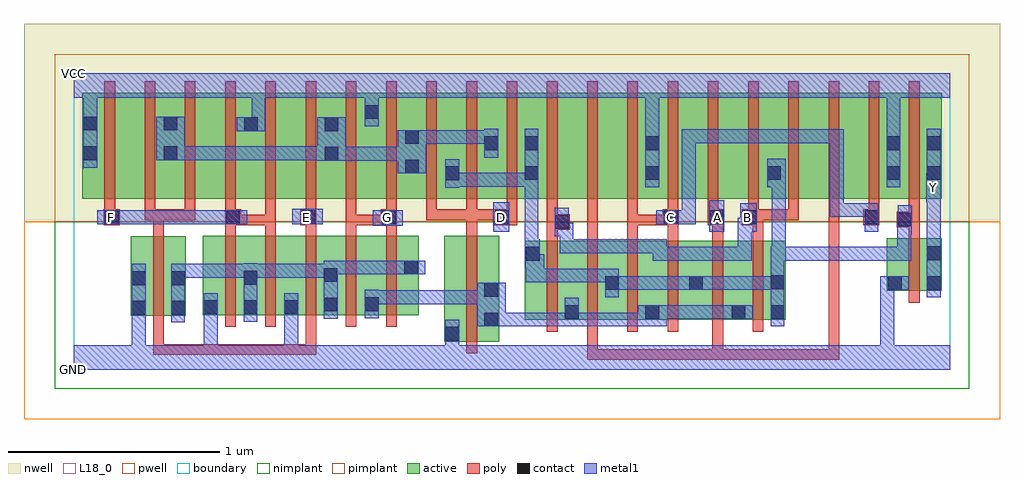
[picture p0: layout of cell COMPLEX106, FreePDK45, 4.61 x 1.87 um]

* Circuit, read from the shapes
.subckt COMPLEX106 A B C D E F G GND VCC Y
M1 n1 E GND VSUBS nfet w=0.375u l=0.05u m=2
M2 n1 F GND VSUBS nfet w=0.375u l=0.05u m=2
M3 n2 G n1 VSUBS nfet w=0.375u l=0.05u m=2
M4 n2 D GND VSUBS nfet w=0.5u l=0.05u
M5 n2 B n3 VSUBS nfet w=0.375u l=0.05u m=2
M6 n3 A n2 VSUBS nfet w=0.375u l=0.05u m=2
M7 n2 C n3 VSUBS nfet w=0.375u l=0.05u m=2
M8 Y n3 GND VSUBS nfet w=0.25u l=0.05u
M9 n4 F VCC n5 pfet w=0.5u l=0.05u
M10 n6 E n4 n5 pfet w=0.5u l=0.05u
M11 n7 E n6 n5 pfet w=0.5u l=0.05u
M12 VCC F n7 n5 pfet w=0.5u l=0.05u
M13 n8 F VCC n5 pfet w=0.5u l=0.05u
M14 n6 E n8 n5 pfet w=0.5u l=0.05u
M15 VCC G n6 n5 pfet w=0.5u l=0.05u m=2
M16 n3 D n6 n5 pfet w=0.5u l=0.05u m=3
M17 n9 B n3 n5 pfet w=0.5u l=0.05u
M18 n10 A n9 n5 pfet w=0.5u l=0.05u
M19 VCC C n10 n5 pfet w=0.5u l=0.05u
M20 n11 C VCC n5 pfet w=0.5u l=0.05u
M21 n12 A n11 n5 pfet w=0.5u l=0.05u
M22 n3 B n12 n5 pfet w=0.5u l=0.05u
M23 n13 B n3 n5 pfet w=0.5u l=0.05u
M24 n14 A n13 n5 pfet w=0.5u l=0.05u
M25 VCC C n14 n5 pfet w=0.5u l=0.05u
M26 Y n3 VCC n5 pfet w=0.5u l=0.05u
.ends

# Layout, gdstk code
import gdstk
lib = gdstk.Library(unit=1e-6, precision=1e-09)
def R(c, l, rs):  # rectangles x0, y0, x1, y1
    for r in rs: c.add(gdstk.rectangle(r[:2], r[2:], *l))
def A(c, l, x, y, w, h, nx, ny, dx, dy):  # array of equal rectangles
    R(c, l, [(x+i*dx, y+j*dy, x+i*dx+w, y+j*dy+h) for i in range(nx) for j in range(ny)])
active = (1, 0)
pwell = (2, 0)
nwell = (3, 0)
nimplant = (4, 0)
pimplant = (5, 0)
poly = (9, 0)
contact = (10, 0)
metal1 = (11, 0)
L18_0 = (18, 0)
boundary = (235, 0)

complex106 = lib.new_cell('COMPLEX106')
A(complex106, active, 0.04, 0.807, 0.225, 0.5, 3, 1, 0.38, 0)
A(complex106, active, 0.265, 0.807, 0.23, 0.5, 3, 1, 0.38, 0)
A(complex106, active, 1.18, 0.807, 0.265, 0.5, 3, 1, 0.19, 0)
A(complex106, active, 2.355, 0.807, 0.19, 0.5, 3, 1, 0.57, 0)
R(complex106, active, [(1.75,0.132,2.01,0.632), (1.75,0.132,1.825,0.632), (1.935,0.145,2.01,0.632), (2.13,0.235,2.39,0.61), (2.315,0.235,2.58,0.61), (2.315,0.235,2.39,0.467), (2.505,0.235,2.77,0.61), (2.695,0.235,2.977,0.61), (2.695,0.235,2.77,0.592), (2.902,0.235,3.177,0.61), (3.102,0.235,3.362,0.61), (3.102,0.235,3.177,0.512), (3.287,0.235,3.362,0.61), (0.27,0.255,0.345,0.63), (0.27,0.255,0.53,0.63), (0.455,0.255,0.53,0.63), (0.61,0.257,0.685,0.632), (0.61,0.257,0.872,0.632), (0.797,0.257,1.065,0.632), (0.797,0.257,0.872,0.592), (0.99,0.257,1.25,0.632), (0.99,0.257,1.065,0.512), (1.175,0.257,1.25,0.632), (1.175,0.257,1.445,0.632), (1.37,0.257,1.63,0.632), (1.37,0.257,1.445,0.467), (1.555,0.27,1.63,0.632), (2.13,0.27,2.205,0.61), (2.505,0.27,2.58,0.512), (2.902,0.27,2.977,0.512), (3.84,0.372,3.915,0.622), (3.84,0.372,4.1,0.622), (4.025,0.372,4.1,0.622), (0.04,0.807,0.115,1.307), (0.42,0.807,0.495,1.2), (0.8,0.807,0.875,1.307), (1.18,0.807,1.255,1.2), (1.37,0.807,1.445,1.307), (1.56,0.807,1.635,1.2), (1.75,0.807,2.01,1.307), (1.75,0.807,1.825,1.07), (1.935,0.807,2.01,1.2), (1.935,0.807,2.2,1.307), (2.125,0.807,2.2,1.2), (2.125,0.807,2.355,1.307), (2.545,0.807,2.77,1.307), (2.695,0.807,2.77,1.307), (2.695,0.807,2.925,1.307), (3.115,0.807,3.345,1.307), (3.27,0.807,3.495,1.307), (3.27,0.807,3.345,1.07), (3.685,0.807,3.91,1.307), (3.835,0.807,3.91,1.307), (3.835,0.807,4.1,1.307), (4.025,0.807,4.1,1.2)])
R(complex106, pwell, [(-0.235,-0.235,4.375,0.7)])
R(complex106, nwell, [(-0.235,0.7,4.375,1.635)])
R(complex106, nimplant, [(-0.09,-0.09,4.23,0.7)])
R(complex106, pimplant, [(-0.09,0.7,4.23,1.49)])
A(complex106, poly, 2.235, 0.18, 0.05, 0.485, 4, 1, 0.19, 0)
A(complex106, poly, 0.715, 0.202, 0.05, 0.485, 5, 1, 0.19, 0)
A(complex106, poly, 0.715, 0.637, 0.05, 0.095, 5, 1, 0.19, 0)
A(complex106, poly, 0.145, 0.707, 0.05, 0.095, 4, 1, 0.19, 0)
A(complex106, poly, 1.475, 0.707, 0.05, 0.095, 4, 1, 0.19, 0)
A(complex106, poly, 2.805, 0.707, 0.05, 0.095, 4, 1, 0.19, 0)
A(complex106, poly, 0.145, 0.752, 0.05, 0.61, 21, 1, 0.19, 0)
R(complex106, poly, [(2.425,0.047,2.475,0.097), (2.425,0.047,2.475,0.097), (2.425,0.047,2.475,0.097), (2.425,0.047,2.475,0.23), (2.425,0.047,2.607,0.097), (2.557,0.047,2.607,0.097), (2.557,0.047,2.607,0.097), (2.557,0.047,2.607,0.097), (2.557,0.047,2.912,0.097), (2.862,0.047,2.912,0.097), (2.862,0.047,2.912,0.097), (2.862,0.047,2.912,0.097), (2.862,0.047,3.067,0.097), (3.017,0.047,3.067,0.097), (3.017,0.047,3.257,0.097), (3.017,0.047,3.067,0.23), (3.207,0.047,3.257,0.097), (3.207,0.047,3.257,0.097), (3.207,0.047,3.257,0.097), (3.207,0.047,3.39,0.097), (3.34,0.047,3.39,0.097), (3.34,0.047,3.39,0.097), (3.34,0.047,3.39,0.097), (3.34,0.047,3.39,0.097), (3.34,0.047,3.39,0.097), (3.34,0.047,3.39,0.097), (3.34,0.047,3.39,0.097), (3.34,0.047,3.615,0.097), (3.565,0.047,3.615,0.802), (3.565,0.047,3.615,0.097), (3.565,0.047,3.615,0.097), (3.565,0.047,3.615,0.097), (3.565,0.047,3.615,0.097), (3.565,0.047,3.615,0.097), (3.565,0.047,3.615,0.097), (3.565,0.047,3.615,0.097), (0.375,0.07,0.425,0.12), (0.375,0.07,0.575,0.12), (0.375,0.07,0.425,0.25), (0.525,0.07,0.575,0.12), (0.525,0.07,0.575,0.12), (0.525,0.07,0.575,0.12), (0.525,0.07,0.707,0.12), (0.657,0.07,0.707,0.12), (0.657,0.07,0.822,0.12), (0.772,0.07,0.822,0.12), (0.772,0.07,0.84,0.12), (0.79,0.07,0.84,0.12), (0.79,0.07,0.987,0.12), (0.937,0.07,0.987,0.12), (0.937,0.07,1.145,0.12), (1.095,0.07,1.145,0.12), (1.095,0.07,1.145,0.12), (1.095,0.07,1.145,0.12), (1.095,0.07,1.145,0.252), (1.855,0.077,1.905,0.687), (3.017,0.18,3.067,0.665), (3.207,0.18,3.257,0.665), (0.375,0.2,0.425,0.685), (3.945,0.317,3.995,0.677), (2.235,0.615,2.285,0.71), (2.425,0.615,2.475,0.71), (2.615,0.615,2.665,0.732), (2.805,0.615,2.855,0.732), (3.017,0.615,3.067,0.732), (3.207,0.615,3.257,0.732), (3.945,0.627,3.995,0.722), (0.375,0.635,0.425,0.757), (1.855,0.637,1.905,0.757), (2.235,0.66,2.342,0.735), (2.425,0.66,2.475,0.71), (2.425,0.66,2.475,0.802), (3.887,0.672,3.995,0.747), (0.142,0.682,0.217,0.757), (0.715,0.682,0.79,0.757), (0.74,0.682,0.955,0.732), (0.905,0.682,0.955,0.732), (0.905,0.682,0.955,0.732), (0.905,0.682,0.955,0.732), (0.905,0.682,0.955,0.802), (1.07,0.682,1.145,0.757), (1.285,0.682,1.335,0.732), (1.285,0.682,1.335,0.732), (1.285,0.682,1.335,0.732), (1.285,0.682,1.335,0.802), (1.285,0.682,1.5,0.732), (1.45,0.682,1.525,0.757), (1.987,0.682,2.095,0.757), (2.615,0.682,2.665,0.732), (2.615,0.682,2.665,0.732), (2.615,0.682,2.665,0.732), (2.615,0.682,2.832,0.732), (2.615,0.682,2.665,0.802), (2.782,0.682,2.857,0.757), (2.995,0.682,3.072,0.757), (3.155,0.682,3.257,0.757), (3.73,0.682,3.805,0.757), (2.235,0.685,2.285,0.802), (3.945,0.697,3.995,0.802), (0.335,0.707,0.425,0.757), (0.375,0.707,0.575,0.757), (0.525,0.707,0.575,0.757), (0.525,0.707,0.575,0.757), (0.525,0.707,0.575,0.757), (1.095,0.707,1.145,0.802), (1.665,0.707,1.715,0.757), (1.665,0.707,1.905,0.757), (1.855,0.707,1.905,0.757), (1.855,0.707,1.905,0.757), (1.855,0.707,1.905,0.757), (1.855,0.707,2.037,0.757), (1.987,0.707,2.037,0.757), (1.987,0.707,2.037,0.757), (3.207,0.707,3.425,0.757), (3.375,0.707,3.425,0.757), (3.375,0.707,3.425,0.757), (3.375,0.707,3.425,0.757), (3.755,0.707,3.805,0.802)])
R(complex106, contact, [(1.755,0.137,1.82,0.202), (1.94,0.205,2.005,0.27), (2.32,0.24,2.385,0.305), (2.7,0.24,2.765,0.305), (3.107,0.24,3.172,0.305), (3.292,0.24,3.357,0.305), (0.275,0.26,0.34,0.325), (0.46,0.26,0.525,0.325), (0.615,0.262,0.68,0.327), (0.802,0.262,0.867,0.327), (0.995,0.262,1.06,0.327), (1.18,0.275,1.245,0.34), (1.375,0.277,1.44,0.342), (1.94,0.345,2.005,0.41), (2.51,0.377,2.575,0.442), (2.907,0.377,2.972,0.442), (3.845,0.377,3.91,0.442), (4.03,0.377,4.095,0.442), (3.292,0.38,3.357,0.445), (0.275,0.4,0.34,0.465), (0.46,0.4,0.525,0.465), (0.802,0.402,0.867,0.467), (1.18,0.415,1.245,0.48), (1.56,0.45,1.625,0.515), (2.135,0.515,2.2,0.58), (4.03,0.517,4.095,0.582), (2.272,0.665,2.337,0.73), (3.892,0.677,3.957,0.742), (0.147,0.687,0.212,0.752), (0.72,0.687,0.785,0.752), (1.075,0.687,1.14,0.752), (1.455,0.687,1.52,0.752), (1.992,0.687,2.057,0.752), (2.787,0.687,2.852,0.752), (3.002,0.687,3.067,0.752), (3.16,0.687,3.225,0.752), (3.735,0.687,3.8,0.752), (1.755,0.895,1.82,0.96), (2.13,0.897,2.195,0.962), (2.7,0.897,2.765,0.962), (3.275,0.897,3.34,0.962), (3.84,0.897,3.905,0.962), (4.03,0.897,4.095,0.962), (1.565,0.927,1.63,0.992), (1.185,0.987,1.25,1.052), (0.045,0.99,0.11,1.055), (0.425,0.99,0.49,1.055), (1.94,1.037,2.005,1.102), (2.13,1.037,2.195,1.102), (2.7,1.037,2.765,1.102), (3.84,1.037,3.905,1.102), (4.03,1.037,4.095,1.102), (1.565,1.067,1.63,1.132), (0.805,1.127,0.87,1.192), (1.185,1.127,1.25,1.192), (0.045,1.13,0.11,1.195), (0.425,1.13,0.49,1.195), (1.375,1.185,1.44,1.25)])
R(complex106, metal1, [(0,0,4.14,0.115), (0.275,0.05,0.34,0.115), (0.275,0.05,0.34,0.115), (0.275,0.05,0.34,0.115), (0.275,0.05,0.34,0.115), (0.275,0.05,0.34,0.29), (0.615,0.05,0.68,0.115), (0.615,0.05,0.68,0.115), (0.615,0.05,0.68,0.292), (0.995,0.05,1.06,0.115), (0.995,0.05,1.06,0.115), (0.995,0.05,1.06,0.115), (0.995,0.05,1.06,0.115), (0.995,0.05,1.06,0.292), (1.755,0.05,1.82,0.115), (1.755,0.05,1.82,0.115), (1.755,0.05,1.82,0.167), (3.81,0.05,3.875,0.115), (3.81,0.05,3.875,0.115), (3.81,0.05,3.875,0.115), (3.81,0.05,3.875,0.115), (3.81,0.05,3.875,0.115), (3.81,0.05,3.875,0.115), (3.81,0.05,3.875,0.442), (1.755,0.102,1.82,0.237), (1.905,0.205,2.04,0.41), (1.975,0.205,2.04,0.27), (1.975,0.205,2.04,0.27), (1.975,0.205,2.222,0.27), (2.157,0.205,2.222,0.27), (2.157,0.205,2.385,0.27), (2.32,0.205,2.385,0.27), (2.32,0.205,2.385,0.27), (2.32,0.205,2.385,0.34), (2.32,0.205,2.522,0.27), (2.457,0.205,2.522,0.27), (2.457,0.205,2.522,0.27), (2.457,0.205,2.522,0.27), (2.457,0.205,2.662,0.27), (2.597,0.205,2.662,0.27), (2.597,0.205,2.73,0.27), (2.665,0.205,2.8,0.305), (3.292,0.205,3.357,0.48), (0.275,0.225,0.34,0.5), (0.46,0.225,0.525,0.5), (0.615,0.227,0.68,0.292), (0.615,0.227,0.68,0.292), (0.615,0.227,0.68,0.362), (0.802,0.227,0.867,0.502), (0.995,0.227,1.06,0.362), (1.18,0.24,1.247,0.515), (2.735,0.24,2.8,0.305), (2.735,0.24,2.8,0.305), (2.735,0.24,3,0.305), (2.935,0.24,3,0.305), (2.935,0.24,3.025,0.305), (2.96,0.24,3.025,0.305), (2.96,0.24,3.137,0.305), (3.072,0.24,3.207,0.305), (1.375,0.242,1.44,0.377), (1.375,0.31,1.44,0.375), (1.375,0.31,1.44,0.375), (1.375,0.31,1.682,0.375), (1.617,0.31,1.682,0.375), (1.617,0.31,1.682,0.375), (1.617,0.31,1.682,0.375), (1.617,0.31,1.832,0.375), (1.767,0.31,1.832,0.375), (1.767,0.31,1.832,0.375), (1.767,0.31,1.832,0.375), (1.767,0.31,1.97,0.375), (2.51,0.342,2.575,0.477), (4.03,0.342,4.095,0.617), (2.51,0.377,2.662,0.442), (2.597,0.377,2.662,0.442), (2.597,0.377,2.8,0.442), (2.735,0.377,2.8,0.442), (2.735,0.377,2.8,0.442), (2.735,0.377,2.8,0.442), (2.735,0.377,2.937,0.442), (2.872,0.377,3.007,0.442), (2.942,0.377,3.025,0.442), (2.96,0.377,3.025,0.442), (2.96,0.377,3.202,0.442), (3.137,0.377,3.202,0.442), (3.137,0.377,3.225,0.442), (3.16,0.377,3.225,0.442), (3.16,0.377,3.357,0.442), (3.81,0.377,3.945,0.442), (2.135,0.412,2.222,0.545), (2.157,0.412,2.222,0.477), (2.157,0.412,2.222,0.477), (2.157,0.412,2.36,0.477), (2.295,0.412,2.36,0.477), (2.295,0.412,2.525,0.477), (2.46,0.412,2.525,0.477), (2.46,0.412,2.575,0.477), (3.292,0.415,3.357,0.58), (0.46,0.435,0.525,0.5), (0.46,0.435,0.525,0.5), (0.46,0.435,0.697,0.5), (0.632,0.435,0.697,0.5), (0.632,0.435,0.697,0.5), (0.632,0.435,0.697,0.5), (0.632,0.435,0.867,0.5), (0.802,0.435,0.867,0.5), (0.802,0.435,0.867,0.5), (0.802,0.435,1.077,0.5), (1.012,0.435,1.077,0.5), (1.012,0.435,1.077,0.5), (1.012,0.435,1.077,0.5), (1.012,0.435,1.245,0.5), (1.182,0.45,1.247,0.515), (1.182,0.45,1.247,0.515), (1.182,0.45,1.422,0.515), (1.357,0.45,1.422,0.515), (1.357,0.45,1.422,0.515), (1.357,0.45,1.422,0.515), (1.357,0.45,1.59,0.515), (1.525,0.45,1.66,0.515), (2.132,0.48,2.2,0.615), (2.135,0.48,2.2,0.545), (2.735,0.515,2.967,0.58), (2.735,0.515,2.8,0.615), (2.902,0.515,2.967,0.58), (2.902,0.515,3.025,0.58), (2.96,0.515,3.025,0.58), (2.96,0.515,3.202,0.58), (3.137,0.515,3.202,0.58), (3.137,0.515,3.202,0.717), (3.292,0.515,3.362,0.58), (3.297,0.515,3.362,0.58), (3.297,0.515,3.362,0.58), (3.297,0.515,3.5,0.58), (3.297,0.515,3.362,0.927), (3.435,0.515,3.5,0.58), (3.435,0.515,3.5,0.58), (3.435,0.515,3.5,0.58), (3.435,0.515,3.637,0.58), (3.572,0.515,3.637,0.58), (3.572,0.515,3.637,0.58), (3.572,0.515,3.637,0.58), (3.572,0.515,3.955,0.58), (3.89,0.515,3.955,0.58), (3.89,0.515,3.955,0.707), (2.13,0.527,2.197,0.615), (2.132,0.527,2.197,0.592), (2.13,0.55,2.195,0.927), (2.295,0.55,2.36,0.615), (2.295,0.55,2.525,0.615), (2.295,0.55,2.36,0.695), (2.46,0.55,2.525,0.615), (2.46,0.55,2.525,0.615), (2.46,0.55,2.525,0.615), (2.46,0.55,2.662,0.615), (2.597,0.55,2.662,0.615), (2.597,0.55,2.8,0.615), (2.735,0.55,2.8,0.615), (2.735,0.55,2.8,0.615), (4.03,0.552,4.095,0.857), (2.272,0.63,2.337,0.765), (2.272,0.63,2.36,0.695), (2.295,0.63,2.36,0.695), (3.89,0.642,3.955,0.707), (3.89,0.642,3.957,0.707), (3.892,0.642,3.957,0.777), (1.982,0.652,2.057,0.792), (3.002,0.652,3.072,0.8), (3.137,0.652,3.202,0.717), (3.137,0.652,3.212,0.717), (3.147,0.652,3.225,0.787), (3.735,0.652,3.8,0.787), (1.412,0.68,1.555,0.752), (0.112,0.687,0.247,0.752), (0.182,0.687,0.247,0.752), (0.182,0.687,0.247,0.752), (0.182,0.687,0.385,0.752), (0.32,0.687,0.385,0.752), (0.32,0.687,0.542,0.752), (0.477,0.687,0.542,0.752), (0.477,0.687,0.542,0.752), (0.477,0.687,0.542,0.752), (0.477,0.687,0.68,0.752), (0.615,0.687,0.68,0.752), (0.615,0.687,0.75,0.752), (0.685,0.687,0.82,0.752), (1.032,0.687,1.175,0.76), (2.752,0.687,2.887,0.752), (2.822,0.687,2.937,0.752), (2.872,0.687,2.937,0.752), (2.872,0.687,2.937,1.135), (3.572,0.722,3.637,0.787), (3.572,0.722,3.8,0.787), (3.572,0.722,3.637,1.135), (4.027,0.792,4.095,0.927), (1.755,0.86,1.82,0.995), (2.13,0.862,2.195,1.137), (2.7,0.862,2.765,1.137), (3.275,0.862,3.362,0.997), (3.297,0.862,3.362,0.927), (3.297,0.862,3.362,0.927), (3.84,0.862,3.905,1.137), (4.03,0.862,4.095,0.927), (4.03,0.862,4.095,1.137), (1.755,0.865,1.82,0.93), (1.755,0.865,1.82,0.93), (1.755,0.865,2.04,0.93), (1.975,0.865,2.04,0.93), (1.975,0.865,2.04,0.93), (1.975,0.865,2.04,0.93), (1.975,0.865,2.195,0.93), (1.53,0.927,1.665,1.132), (0.045,0.955,0.11,1.23), (1.15,0.987,1.285,1.192), (1.22,0.987,1.285,1.052), (1.22,0.987,1.285,1.052), (1.22,0.987,1.422,1.052), (1.357,0.987,1.422,1.052), (1.357,0.987,1.422,1.052), (1.357,0.987,1.422,1.052), (1.357,0.987,1.595,1.052), (0.39,0.99,0.525,1.195), (0.46,0.99,0.525,1.055), (0.46,0.99,0.525,1.055), (0.46,0.99,0.697,1.055), (0.632,0.99,0.697,1.055), (0.632,0.99,0.697,1.055), (0.632,0.99,0.697,1.055), (0.632,0.99,0.922,1.055), (0.857,0.99,0.922,1.055), (0.857,0.99,0.922,1.055), (0.857,0.99,0.922,1.055), (0.857,0.99,1.06,1.055), (0.995,0.99,1.06,1.055), (0.995,0.99,1.06,1.055), (0.995,0.99,1.06,1.055), (0.995,0.99,1.215,1.055), (1.94,1.002,2.005,1.137), (1.6,1.067,1.665,1.132), (1.6,1.067,1.665,1.132), (1.6,1.067,1.832,1.132), (1.767,1.067,1.832,1.132), (1.767,1.067,1.832,1.132), (1.767,1.067,1.832,1.132), (1.767,1.067,2.005,1.132), (2.872,1.07,2.937,1.135), (2.872,1.07,2.937,1.135), (2.872,1.07,2.937,1.135), (2.872,1.07,3.025,1.135), (2.96,1.07,3.025,1.135), (2.96,1.07,3.145,1.135), (3.08,1.07,3.145,1.135), (3.08,1.07,3.225,1.135), (3.16,1.07,3.225,1.135), (3.16,1.07,3.362,1.135), (3.297,1.07,3.362,1.135), (3.297,1.07,3.362,1.135), (3.297,1.07,3.362,1.135), (3.297,1.07,3.5,1.135), (3.435,1.07,3.5,1.135), (3.435,1.07,3.5,1.135), (3.435,1.07,3.5,1.135), (3.435,1.07,3.637,1.135), (3.572,1.07,3.637,1.135), (3.572,1.07,3.637,1.135), (3.572,1.07,3.637,1.135), (2.7,1.072,2.765,1.35), (3.84,1.072,3.905,1.35), (0.77,1.127,0.905,1.192), (0.84,1.127,0.905,1.35), (1.375,1.15,1.44,1.285), (0.045,1.165,0.11,1.35), (1.375,1.22,1.44,1.35), (0,1.285,4.14,1.4)])
R(complex106, L18_0, [(0,0,4.14,0.115), (0.275,0.05,0.34,0.115), (0.275,0.05,0.34,0.115), (0.275,0.05,0.34,0.115), (0.275,0.05,0.34,0.115), (0.275,0.05,0.34,0.29), (0.615,0.05,0.68,0.115), (0.615,0.05,0.68,0.115), (0.615,0.05,0.68,0.292), (0.995,0.05,1.06,0.115), (0.995,0.05,1.06,0.115), (0.995,0.05,1.06,0.115), (0.995,0.05,1.06,0.115), (0.995,0.05,1.06,0.292), (1.755,0.05,1.82,0.115), (1.755,0.05,1.82,0.115), (1.755,0.05,1.82,0.167), (3.81,0.05,3.875,0.115), (3.81,0.05,3.875,0.115), (3.81,0.05,3.875,0.115), (3.81,0.05,3.875,0.115), (3.81,0.05,3.875,0.115), (3.81,0.05,3.875,0.115), (3.81,0.05,3.875,0.442), (1.755,0.102,1.82,0.237), (0.275,0.225,0.34,0.5), (0.615,0.227,0.68,0.292), (0.615,0.227,0.68,0.292), (0.615,0.227,0.68,0.362), (0.995,0.227,1.06,0.362), (4.03,0.342,4.095,0.617), (3.81,0.377,3.945,0.442), (2.735,0.515,2.8,0.615), (2.735,0.515,2.967,0.58), (2.902,0.515,2.967,0.58), (2.902,0.515,3.025,0.58), (2.96,0.515,3.025,0.58), (2.96,0.515,3.202,0.58), (3.137,0.515,3.202,0.58), (3.137,0.515,3.202,0.717), (2.295,0.55,2.36,0.615), (2.295,0.55,2.36,0.695), (2.295,0.55,2.525,0.615), (2.46,0.55,2.525,0.615), (2.46,0.55,2.525,0.615), (2.46,0.55,2.525,0.615), (2.46,0.55,2.662,0.615), (2.597,0.55,2.662,0.615), (2.597,0.55,2.8,0.615), (2.735,0.55,2.8,0.615), (2.735,0.55,2.8,0.615), (4.03,0.552,4.095,0.857), (2.272,0.63,2.337,0.765), (2.272,0.63,2.36,0.695), (2.295,0.63,2.36,0.695), (1.982,0.652,2.057,0.792), (3.002,0.652,3.072,0.8), (3.137,0.652,3.202,0.717), (3.137,0.652,3.212,0.717), (3.147,0.652,3.225,0.787), (3.735,0.652,3.8,0.787), (1.412,0.68,1.555,0.752), (0.112,0.687,0.247,0.752), (0.147,0.687,0.212,0.752), (0.182,0.687,0.247,0.752), (0.182,0.687,0.247,0.752), (0.182,0.687,0.385,0.752), (0.32,0.687,0.385,0.752), (0.32,0.687,0.542,0.752), (0.477,0.687,0.542,0.752), (0.477,0.687,0.542,0.752), (0.477,0.687,0.542,0.752), (0.477,0.687,0.68,0.752), (0.615,0.687,0.75,0.752), (0.615,0.687,0.68,0.752), (0.685,0.687,0.82,0.752), (1.032,0.687,1.175,0.76), (1.067,0.687,1.132,0.752), (1.447,0.687,1.512,0.752), (1.987,0.687,2.052,0.752), (2.752,0.687,2.887,0.752), (2.787,0.687,2.852,0.752), (2.822,0.687,2.937,0.752), (2.872,0.687,2.937,0.752), (2.872,0.687,2.937,1.135), (3.007,0.687,3.072,0.752), (3.147,0.687,3.212,0.752), (3.572,0.722,3.637,0.787), (3.572,0.722,3.637,1.135), (3.572,0.722,3.8,0.787), (4.027,0.792,4.095,0.927), (4.027,0.827,4.092,0.892), (2.7,0.862,2.765,1.137), (3.84,0.862,3.905,1.137), (4.03,0.862,4.095,1.137), (4.03,0.862,4.095,0.927), (0.045,0.955,0.11,1.23), (2.872,1.07,2.937,1.135), (2.872,1.07,2.937,1.135), (2.872,1.07,2.937,1.135), (2.872,1.07,3.025,1.135), (2.96,1.07,3.025,1.135), (2.96,1.07,3.145,1.135), (3.08,1.07,3.145,1.135), (3.08,1.07,3.225,1.135), (3.16,1.07,3.225,1.135), (3.16,1.07,3.362,1.135), (3.297,1.07,3.362,1.135), (3.297,1.07,3.362,1.135), (3.297,1.07,3.362,1.135), (3.297,1.07,3.5,1.135), (3.435,1.07,3.5,1.135), (3.435,1.07,3.5,1.135), (3.435,1.07,3.5,1.135), (3.435,1.07,3.637,1.135), (3.572,1.07,3.637,1.135), (3.572,1.07,3.637,1.135), (3.572,1.07,3.637,1.135), (2.7,1.072,2.765,1.35), (3.84,1.072,3.905,1.35), (0.77,1.127,0.905,1.192), (0.84,1.127,0.905,1.35), (1.375,1.15,1.44,1.285), (0.045,1.165,0.11,1.35), (1.375,1.22,1.44,1.35), (0,1.285,4.14,1.4)])
R(complex106, boundary, [(0,0,4.14,1.4)])
complex106.add(gdstk.Label('A', (3.04,0.72), layer=11, texttype=0))
complex106.add(gdstk.Label('B', (3.18,0.72), layer=11, texttype=0))
complex106.add(gdstk.Label('C', (2.82,0.72), layer=11, texttype=0))
complex106.add(gdstk.Label('D', (2.02,0.72), layer=11, texttype=0))
complex106.add(gdstk.Label('E', (1.1,0.72), layer=11, texttype=0))
complex106.add(gdstk.Label('F', (0.18,0.72), layer=11, texttype=0))
complex106.add(gdstk.Label('G', (1.48,0.72), layer=11, texttype=0))
complex106.add(gdstk.Label('Y', (4.06,0.86), layer=11, texttype=0))
complex106.add(gdstk.Label('VCC', (0,1.4), layer=11, texttype=0))
complex106.add(gdstk.Label('GND', (0,0), layer=11, texttype=0))

lib.write_gds('COMPLEX106.gds')
